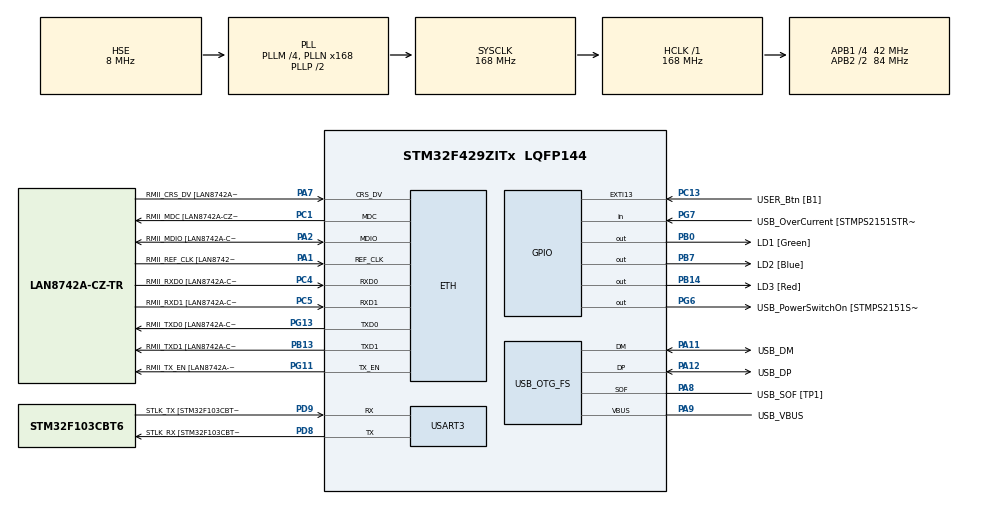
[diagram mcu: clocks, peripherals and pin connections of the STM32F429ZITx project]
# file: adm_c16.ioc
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ETH.MediaInterface=HAL_ETH_RMII_MODE
ETH.PHY_Name=LAN8742A_PHY_ADDRESS
ETH.PHY_Value=0
ETH.PhyAddress=0
Mcu.Family=STM32F4
Mcu.Name=STM32F429ZITx
Mcu.Package=LQFP144
NVIC.PriorityGroup=NVIC_PRIORITYGROUP_4
PA1.GPIO_Label=RMII_REF_CLK [LAN8742A-CZ-TR_REFCLK0]
PA1.Mode=RMII
PA1.Signal=ETH_REF_CLK
PA10.GPIO_Label=USB_ID
PA10.Signal=USB_OTG_FS_ID
PA11.GPIO_Label=USB_DM
PA11.Mode=Device_Only
PA11.Signal=USB_OTG_FS_DM
PA12.GPIO_Label=USB_DP
PA12.Mode=Device_Only
PA12.Signal=USB_OTG_FS_DP
PA13.GPIO_Label=TMS
PA13.Mode=Serial_Wire
PA13.Signal=SYS_JTMS-SWDIO
PA14.GPIO_Label=TCK
PA14.Mode=Serial_Wire
PA14.Signal=SYS_JTCK-SWCLK
PA2.GPIO_Label=RMII_MDIO [LAN8742A-CZ-TR_MDIO]
PA2.Mode=RMII
PA2.Signal=ETH_MDIO
PA7.GPIO_Label=RMII_CRS_DV [LAN8742A-CZ-TR_CRS_DV]
PA7.Mode=RMII
PA7.Signal=ETH_CRS_DV
PA8.GPIO_Label=USB_SOF [TP1]
PA8.Mode=Activate_SOF_FS
PA8.Signal=USB_OTG_FS_SOF
PA9.GPIO_Label=USB_VBUS
PA9.Mode=Activate_VBUS
PA9.Signal=USB_OTG_FS_VBUS
PB0.GPIO_Label=LD1 [Green]
PB0.Signal=GPIO_Output
PB13.GPIO_Label=RMII_TXD1 [LAN8742A-CZ-TR_TXD1]
PB13.Mode=RMII
PB13.Signal=ETH_TXD1
PB14.GPIO_Label=LD3 [Red]
PB14.Signal=GPIO_Output
PB7.GPIO_Label=LD2 [Blue]
PB7.Signal=GPIO_Output
PC1.GPIO_Label=RMII_MDC [LAN8742A-CZ-TR_MDC]
PC1.Mode=RMII
PC1.Signal=ETH_MDC
PC13.GPIO_Label=USER_Btn [B1]
PC13.Signal=GPXTI13
PC14/OSC32_IN.Mode=LSE-External-Oscillator
PC14/OSC32_IN.Signal=RCC_OSC32_IN
PC15/OSC32_OUT.Mode=LSE-External-Oscillator
PC15/OSC32_OUT.Signal=RCC_OSC32_OUT
PC4.GPIO_Label=RMII_RXD0 [LAN8742A-CZ-TR_RXD0]
PC4.Mode=RMII
PC4.Signal=ETH_RXD0
PC5.GPIO_Label=RMII_RXD1 [LAN8742A-CZ-TR_RXD1]
PC5.Mode=RMII
PC5.Signal=ETH_RXD1
PD8.GPIO_Label=STLK_RX [STM32F103CBT6_PA3]
PD8.Mode=Asynchronous
PD8.Signal=USART3_TX
PD9.GPIO_Label=STLK_TX [STM32F103CBT6_PA2]
PD9.Mode=Asynchronous
PD9.Signal=USART3_RX
PG11.GPIO_Label=RMII_TX_EN [LAN8742A-CZ-TR_TXEN]
PG11.Mode=RMII
PG11.Signal=ETH_TX_EN
PG13.GPIO_Label=RMII_TXD0 [LAN8742A-CZ-TR_TXD0]
PG13.Mode=RMII
PG13.Signal=ETH_TXD0
PG6.GPIO_Label=USB_PowerSwitchOn [STMPS2151STR_EN]
PG6.Signal=GPIO_Output
PG7.GPIO_Label=USB_OverCurrent [STMPS2151STR_FAULT]
PG7.Signal=GPIO_Input
PH0/OSC_IN.GPIO_Label=MCO [STM32F103CBT6_PA8]
PH0/OSC_IN.Mode=HSE-External-Clock-Source
PH0/OSC_IN.Signal=RCC_OSC_IN
PH1/OSC_OUT.Mode=HSE-External-Clock-Source
PH1/OSC_OUT.Signal=RCC_OSC_OUT
ProjectManager.HeapSize=0x200
ProjectManager.StackSize=0x400
ProjectManager.TargetToolchain=STM32CubeIDE
RCC.48MHZClocksFreq_Value=48000000
RCC.AHBFreq_Value=168000000
RCC.APB1CLKDivider=RCC_HCLK_DIV4
RCC.APB1Freq_Value=42000000
RCC.APB1TimFreq_Value=84000000
RCC.APB2CLKDivider=RCC_HCLK_DIV2
RCC.APB2Freq_Value=84000000
RCC.APB2TimCLKDivider=2
RCC.APB2TimFreq_Value=168000000
RCC.CortexFreq_Value=168000000
RCC.HCLKFreq_Value=168000000
RCC.HSE_VALUE=8000000
RCC.HSI_VALUE=16000000
RCC.PLLM=4
RCC.PLLMUL=RCC_PLL_MUL9
RCC.PLLN=168
RCC.PLLQ=7
RCC.PRESCALERUSB=RCC_USBCLKSOURCE_PLL_DIV1_5
RCC.SYSCLKFreq_VALUE=168000000
RCC.SYSCLKSource=RCC_SYSCLKSOURCE_PLLCLK
RCC.SYSCLKSourceVirtual=RCC_SYSCLKSOURCE_PLLCLK
RCC.USBFreq_Value=48000000
RCC.VCOOutputFreq_Value=336000000
USART3.VirtualMode=VM_ASYNC
USB_OTG_FS.VirtualMode=Device_Only
board=NUCLEO-F429ZI

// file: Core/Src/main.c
/* USER CODE BEGIN Header */
/**
  ******************************************************************************
  * @file           : main.c
  * @brief          : Main program body
  ******************************************************************************
  * @attention
  *
  * Copyright (c) 2022 STMicroelectronics.
  * All rights reserved.
  *
  * This software is licensed under terms that can be found in the LICENSE file
  * in the root directory of this software component.
  * If no LICENSE file comes with this software, it is provided AS-IS.
  *
  ******************************************************************************
  */
/* USER CODE END Header */
#include "main.h"
#include "string.h"
#include "api_utils.h"

/* USER CODE BEGIN Includes */
#include "asm_func.h"
/* USER CODE END Includes */

ETH_TxPacketConfig TxConfig;
ETH_DMADescTypeDef  DMARxDscrTab[ETH_RX_DESC_CNT]; /* Ethernet Rx DMA Descriptors */
ETH_DMADescTypeDef  DMATxDscrTab[ETH_TX_DESC_CNT]; /* Ethernet Tx DMA Descriptors */

 ETH_HandleTypeDef heth;

UART_HandleTypeDef huart3;

PCD_HandleTypeDef hpcd_USB_OTG_FS;

/* USER CODE BEGIN PV */

char uart_buf[80];

/* USER CODE END PV */

void SystemClock_Config(void);
static void MX_GPIO_Init(void);
static void MX_ETH_Init(void);
static void MX_USART3_UART_Init(void);
static void MX_USB_OTG_FS_PCD_Init(void);

/* USER CODE BEGIN 0 */
static void PrivilegiosSVC (void)
{
    // Obtiene valor del registro de 32 bits del procesador llamado "control".
    // El registro guarda los siguientes estados:
    // bit 2: Uso de FPU en el contexto actual. Usado=1, no usado=0.
    // bit 1: Mapeo del stack pointer(sp). MSP=0, PSP=1.
    // bit 0: Modo de ejecucion en Thread. Privilegiado=0, No privilegiado=1.
    //        Recordar que este valor solo se usa en modo Thread. Las
    //        interrupciones siempre se ejecutan en modo Handler con total
    //        privilegio.
    uint32_t x = __get_CONTROL ();

    // Actividad de debug: Ver registro "control" y valor de variable "x".
    //__BKPT (0);

    x |= 1;
    // bit 0 a modo No privilegiado.
    __set_CONTROL (x);

    // En este punto se estaria ejecutando en modo No privilegiado.
    // Lectura del registro "control" para confirmar.
    x = __get_CONTROL ();

    // Actividad de debug: Ver registro "control" y valor de variable "x".
    //__BKPT (0);

    x &= ~1u;
    // Se intenta volver a modo Privilegiado (bit 0, valor 0).
    __set_CONTROL (x);

    // Confirma que esta operacion es ignorada por estar ejecutandose en modo
    // Thread no privilegiado.
    x = __get_CONTROL ();

    // Actividad de debug: Ver registro "control" y valor de variable "x".
    //__BKPT (0);

    // En este punto, ejecutando en modo Thread no privilegiado, la unica forma
    // de volver a modo privilegiado o de realizar cualquier cambio que requiera
    // modo privilegiado, es pidiendo ese servicio a un hipotetico sistema
    // opertivo de tiempo real.
    // Para esto se invoca por software a la interrupcion SVC (Supervisor Call)
    // utilizando la instruccion "svc".
    // No hay intrinsics para realizar esta tarea. Para utilizar la instruccion
    // es necesario implementar una funcion en assembler. Ver el archivo
    // asm_func.S.
    asm_svc ();

    // El sistema operativo (el handler de SVC) deberia haber devuelto el modo
    // de ejecucion de Thread a privilegiado (bit 0 en valor 0).
    x = __get_CONTROL ();

    // Fin del ejemplo de SVC
}
/* USER CODE END 0 */

int main(void)
{

  /* MCU Configuration--------------------------------------------------------*/

  /* Reset of all peripherals, Initializes the Flash interface and the Systick. */
  HAL_Init();

  /* Configure the system clock */
  SystemClock_Config();

  /* USER CODE BEGIN SysInit */
  DWT->CTRL |= 1 << DWT_CTRL_CYCCNTENA_Pos;
  /* USER CODE END SysInit */

  /* Initialize all configured peripherals */
  MX_GPIO_Init();
  MX_ETH_Init();
  MX_USART3_UART_Init();
  MX_USB_OTG_FS_PCD_Init();
  /* USER CODE BEGIN 2 */
  PrivilegiosSVC ();

  HAL_UART_Transmit(&huart3, "Starting...\r\n", 14, 1000);

  DWT->CYCCNT = 0;
  const uint32_t Resultado = asm_sum (5, 3);
  volatile uint32_t cicles = DWT->CYCCNT;

  /**
   * Testing basic functionality of api_utils methods
   */

  uint32_t test_array_zeros[] = {1, 2, 3};
  zeros(test_array_zeros, 3);

  uint32_t test_array_32_in[] = {0xFF, 0x1111, 0xFFFFFFFA};
  uint32_t test_array_32_out[3] = {0};
  productoEscalar32(test_array_32_in, test_array_32_out, 3, 3);

  uint16_t test_array_16_in[] = {0xFF, 0x1000, 0xFFFA};
  uint16_t test_array_16_out[3] = {0};
  productoEscalar16(test_array_16_in, test_array_16_out, 3, 3);

  productoEscalar12(test_array_16_in, test_array_16_out, 3, 3);

  uint16_t big_array_16_in[] = {0x1, 0x2, 0x3, 0x4, 0x5, 0x6, 0x7, 0x8, 0x9, 0xa, 0xb, 0xc};
  uint16_t big_array_16_out[12] = {0};

  filtroVentana10(big_array_16_in, big_array_16_out, 12);

  int32_t signed_big_array_32_in[] = {
		  0xFFFFAAAA,
		  0xFAFA1212,
		  0x00112233,
		  0x12345678,
  };

  int16_t signed_big_array_16_out[4] = {0};

  pack32to16(signed_big_array_32_in, signed_big_array_16_out, 4);

  int32_t max_number = max(signed_big_array_32_in, 4);
  if (max_number);

  int32_t downsample_input[] = {
		  0x1, 0x2, 0x3, 0x4, 0x5, 0x6, 0x7, 0x8, 0x9, 0xa, 0xb, 0xc
  };
  int32_t downsample_output[8] = {0};

  downsampleM(downsample_input, downsample_output, 12, 3);

  invertir(big_array_16_in, 12);
  invertir(big_array_16_in, 12);

  int16_t vector_x[] = {1, 2, 3, 4};
  int16_t vector_y[] = {-1, -2, -3, -4};
  int32_t vector_corr[4] = {0};

  DWT->CYCCNT = 0;
  corr(vector_x, vector_y, vector_corr, 4);
  cicles = DWT->CYCCNT;
  sprintf(uart_buf, "Corr cicles: %u \r\n", cicles);
  HAL_UART_Transmit(&huart3, uart_buf, strlen(uart_buf), 1000);

  /**
   * Testing basic functionality of asm_func methods
   */

  test_array_zeros[0] = 1;
  test_array_zeros[1] = 2;
  test_array_zeros[2] = 3;
  asm_zeros(test_array_zeros, 3);

  zeros(test_array_32_out, 3);
  asm_productoEscalar32(test_array_32_in, test_array_32_out, 3, 3);

  test_array_16_out[0] = 0;
  test_array_16_out[1] = 0;
  test_array_16_out[2] = 0;
  asm_productoEscalar16(test_array_16_in, test_array_16_out, 3, 3);

  asm_productoEscalar12(test_array_16_in, test_array_16_out, 3, 3);

  memset(big_array_16_out, 0, sizeof big_array_16_out);
  asm_filtroVentana10(big_array_16_in, big_array_16_out, 12);

  memset(signed_big_array_16_out, 0, sizeof signed_big_array_16_out);
  asm_pack32to16(signed_big_array_32_in, signed_big_array_16_out, 4);

  max_number = 0;
  max_number = asm_max(signed_big_array_32_in, 4);

  memset(downsample_output, 0, sizeof downsample_output);
  asm_downsampleM(downsample_input, downsample_output, 12, 3);

  asm_invertir(big_array_16_in, 12);

  memset(vector_corr, 0, sizeof vector_corr);
  DWT->CYCCNT = 0;
  asm_corr(vector_x, vector_y, vector_corr, 4);
  cicles = DWT->CYCCNT;
  sprintf(uart_buf, "asm_corr cicles: %u \r\n", cicles);
  HAL_UART_Transmit(&huart3, uart_buf, strlen(uart_buf), 1000);

  memset(vector_corr, 0, sizeof vector_corr);
  int16_t vector_x_filled[] = {1, 2, 3, 4, 0};  // adjusted vector x for simd optimization
  DWT->CYCCNT = 0;
  asm_corr_simd(vector_x_filled, vector_y, vector_corr, 4);
  cicles = DWT->CYCCNT;
  sprintf(uart_buf, "asm_cirr_simd cicles: %u \r\n", cicles);
  HAL_UART_Transmit(&huart3, uart_buf, strlen(uart_buf), 1000);

  /* USER CODE END 2 */

  /* Infinite loop */
  while (1)
  {

  }
}

void SystemClock_Config(void)
{
  RCC_OscInitTypeDef RCC_OscInitStruct = {0};
  RCC_ClkInitTypeDef RCC_ClkInitStruct = {0};

  /** Configure the main internal regulator output voltage
  */
  __HAL_RCC_PWR_CLK_ENABLE();
  __HAL_PWR_VOLTAGESCALING_CONFIG(PWR_REGULATOR_VOLTAGE_SCALE1);

  /** Initializes the RCC Oscillators according to the specified parameters
  * in the RCC_OscInitTypeDef structure.
  */
  RCC_OscInitStruct.OscillatorType = RCC_OSCILLATORTYPE_HSE;
  RCC_OscInitStruct.HSEState = RCC_HSE_BYPASS;
  RCC_OscInitStruct.PLL.PLLState = RCC_PLL_ON;
  RCC_OscInitStruct.PLL.PLLSource = RCC_PLLSOURCE_HSE;
  RCC_OscInitStruct.PLL.PLLM = 4;
  RCC_OscInitStruct.PLL.PLLN = 168;
  RCC_OscInitStruct.PLL.PLLP = RCC_PLLP_DIV2;
  RCC_OscInitStruct.PLL.PLLQ = 7;
  if (HAL_RCC_OscConfig(&RCC_OscInitStruct) != HAL_OK)
  {
    Error_Handler();
  }

  /** Initializes the CPU, AHB and APB buses clocks
  */
  RCC_ClkInitStruct.ClockType = RCC_CLOCKTYPE_HCLK|RCC_CLOCKTYPE_SYSCLK
                              |RCC_CLOCKTYPE_PCLK1|RCC_CLOCKTYPE_PCLK2;
  RCC_ClkInitStruct.SYSCLKSource = RCC_SYSCLKSOURCE_PLLCLK;
  RCC_ClkInitStruct.AHBCLKDivider = RCC_SYSCLK_DIV1;
  RCC_ClkInitStruct.APB1CLKDivider = RCC_HCLK_DIV4;
  RCC_ClkInitStruct.APB2CLKDivider = RCC_HCLK_DIV2;

  if (HAL_RCC_ClockConfig(&RCC_ClkInitStruct, FLASH_LATENCY_5) != HAL_OK)
  {
    Error_Handler();
  }
}

static void MX_ETH_Init(void)
{

   static uint8_t MACAddr[6];

  heth.Instance = ETH;
  MACAddr[0] = 0x00;
  MACAddr[1] = 0x80;
  MACAddr[2] = 0xE1;
  MACAddr[3] = 0x00;
  MACAddr[4] = 0x00;
  MACAddr[5] = 0x00;
  heth.Init.MACAddr = &MACAddr[0];
  heth.Init.MediaInterface = HAL_ETH_RMII_MODE;
  heth.Init.TxDesc = DMATxDscrTab;
  heth.Init.RxDesc = DMARxDscrTab;
  heth.Init.RxBuffLen = 1524;

  if (HAL_ETH_Init(&heth) != HAL_OK)
  {
    Error_Handler();
  }

  memset(&TxConfig, 0 , sizeof(ETH_TxPacketConfig));
  TxConfig.Attributes = ETH_TX_PACKETS_FEATURES_CSUM | ETH_TX_PACKETS_FEATURES_CRCPAD;
  TxConfig.ChecksumCtrl = ETH_CHECKSUM_IPHDR_PAYLOAD_INSERT_PHDR_CALC;
  TxConfig.CRCPadCtrl = ETH_CRC_PAD_INSERT;

}

static void MX_USART3_UART_Init(void)
{

  huart3.Instance = USART3;
  huart3.Init.BaudRate = 115200;
  huart3.Init.WordLength = UART_WORDLENGTH_8B;
  huart3.Init.StopBits = UART_STOPBITS_1;
  huart3.Init.Parity = UART_PARITY_NONE;
  huart3.Init.Mode = UART_MODE_TX_RX;
  huart3.Init.HwFlowCtl = UART_HWCONTROL_NONE;
  huart3.Init.OverSampling = UART_OVERSAMPLING_16;
  if (HAL_UART_Init(&huart3) != HAL_OK)
  {
    Error_Handler();
  }

}

static void MX_USB_OTG_FS_PCD_Init(void)
{

  hpcd_USB_OTG_FS.Instance = USB_OTG_FS;
  hpcd_USB_OTG_FS.Init.dev_endpoints = 4;
  hpcd_USB_OTG_FS.Init.speed = PCD_SPEED_FULL;
  hpcd_USB_OTG_FS.Init.dma_enable = DISABLE;
  hpcd_USB_OTG_FS.Init.phy_itface = PCD_PHY_EMBEDDED;
  hpcd_USB_OTG_FS.Init.Sof_enable = ENABLE;
  hpcd_USB_OTG_FS.Init.low_power_enable = DISABLE;
  hpcd_USB_OTG_FS.Init.lpm_enable = DISABLE;
  hpcd_USB_OTG_FS.Init.vbus_sensing_enable = ENABLE;
  hpcd_USB_OTG_FS.Init.use_dedicated_ep1 = DISABLE;
  if (HAL_PCD_Init(&hpcd_USB_OTG_FS) != HAL_OK)
  {
    Error_Handler();
  }

}

static void MX_GPIO_Init(void)
{
  GPIO_InitTypeDef GPIO_InitStruct = {0};

  /* GPIO Ports Clock Enable */
  __HAL_RCC_GPIOC_CLK_ENABLE();
  __HAL_RCC_GPIOH_CLK_ENABLE();
  __HAL_RCC_GPIOA_CLK_ENABLE();
  __HAL_RCC_GPIOB_CLK_ENABLE();
  __HAL_RCC_GPIOD_CLK_ENABLE();
  __HAL_RCC_GPIOG_CLK_ENABLE();

  /*Configure GPIO pin Output Level */
  HAL_GPIO_WritePin(GPIOB, LD1_Pin|LD3_Pin|LD2_Pin, GPIO_PIN_RESET);

  /*Configure GPIO pin Output Level */
  HAL_GPIO_WritePin(USB_PowerSwitchOn_GPIO_Port, USB_PowerSwitchOn_Pin, GPIO_PIN_RESET);

  /*Configure GPIO pin : USER_Btn_Pin */
  GPIO_InitStruct.Pin = USER_Btn_Pin;
  GPIO_InitStruct.Mode = GPIO_MODE_IT_RISING;
  GPIO_InitStruct.Pull = GPIO_NOPULL;
  HAL_GPIO_Init(USER_Btn_GPIO_Port, &GPIO_InitStruct);

  /*Configure GPIO pins : LD1_Pin LD3_Pin LD2_Pin */
  GPIO_InitStruct.Pin = LD1_Pin|LD3_Pin|LD2_Pin;
  GPIO_InitStruct.Mode = GPIO_MODE_OUTPUT_PP;
  GPIO_InitStruct.Pull = GPIO_NOPULL;
  GPIO_InitStruct.Speed = GPIO_SPEED_FREQ_LOW;
  HAL_GPIO_Init(GPIOB, &GPIO_InitStruct);

  /*Configure GPIO pin : USB_PowerSwitchOn_Pin */
  GPIO_InitStruct.Pin = USB_PowerSwitchOn_Pin;
  GPIO_InitStruct.Mode = GPIO_MODE_OUTPUT_PP;
  GPIO_InitStruct.Pull = GPIO_NOPULL;
  GPIO_InitStruct.Speed = GPIO_SPEED_FREQ_LOW;
  HAL_GPIO_Init(USB_PowerSwitchOn_GPIO_Port, &GPIO_InitStruct);

  /*Configure GPIO pin : USB_OverCurrent_Pin */
  GPIO_InitStruct.Pin = USB_OverCurrent_Pin;
  GPIO_InitStruct.Mode = GPIO_MODE_INPUT;
  GPIO_InitStruct.Pull = GPIO_NOPULL;
  HAL_GPIO_Init(USB_OverCurrent_GPIO_Port, &GPIO_InitStruct);

}

void Error_Handler(void)
{
  __disable_irq();
  while (1)
  {
  }
}
